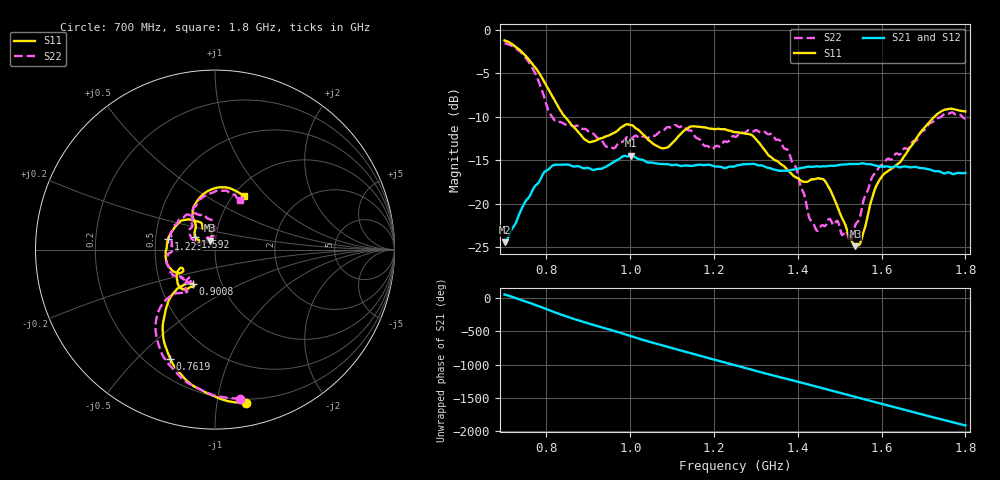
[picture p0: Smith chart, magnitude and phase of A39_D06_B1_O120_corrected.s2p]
! Created with skrf 1.9.0 (http://scikit-rf.org).
# Hz S RI R 50.0
!freq ReS11 ImS11 ReS21 ImS21 ReS12 ImS12 ReS22 ImS22
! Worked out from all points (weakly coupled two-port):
!   1601 points, 700 MHz to 1.8 GHz, reference 50 ohm
!   highest |S21| = -14.47 dB at 1.002 GHz (marker M1); lowest = -24.5 dB at 700 MHz (marker M2)
!   lowest |S11| = -24.9 dB at 1.537 GHz (marker M3), VSWR 1.12, Z = 47.2 + j4.78 ohm
!   |S11| at or under -10 dB: 844 MHz to 1.726 GHz (881.6 MHz wide, 68.6 % of centre)
!   |S22| runs from -24.3 to -1.5 dB; largest |S21 - S12| = 0.0034
!   S11 on the Smith chart (normalised r, x): 700 MHz: 0.17, -1.21; 761.9 MHz: 0.29, -0.63; 900.8 MHz: 0.73, -0.29; 1.223 GHz: 0.58, +0.07; 1.592 GHz: 0.79, +0.12; 1.8 GHz: 1.12, +0.76
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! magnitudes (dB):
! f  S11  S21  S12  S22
! 700 MHz  -1.2  -24.5  -24.2  -1.5
! 761.9 MHz  -3.7  -19.0  -18.9  -4.0
! 816.9 MHz  -7.9  -15.6  -15.7  -10.3
! 883.6 MHz  -12.2  -15.8  -15.7  -11.4
! 900.8 MHz  -12.9  -15.9  -15.9  -11.7
! 957.8 MHz  -11.9  -15.3  -15.3  -13.6
! 1.002 GHz  -10.9  -14.5  -14.6  -12.5
! 1.067 GHz  -13.4  -15.4  -15.4  -11.8
! 1.145 GHz  -11.1  -15.7  -15.7  -11.6
! 1.193 GHz  -11.4  -15.6  -15.6  -13.7
! 1.223 GHz  -11.4  -15.9  -15.9  -12.9
! 1.25 GHz  -11.8  -15.7  -15.6  -12.3
! 1.357 GHz  -15.4  -16.2  -16.2  -12.7
! 1.395 GHz  -17.0  -16.0  -16.0  -15.8
! 1.434 GHz  -17.2  -15.8  -15.7  -22.1
! 1.467 GHz  -17.6  -15.7  -15.7  -22.5
! 1.525 GHz  -23.9  -15.4  -15.4  -24.3
! 1.537 GHz  -24.9  -15.4  -15.4  -22.5
! 1.592 GHz  -17.6  -15.7  -15.7  -15.9
! 1.617 GHz  -16.2  -15.8  -15.7  -14.8
! 1.734 GHz  -9.6  -16.3  -16.3  -10.1
! 1.8 GHz  -9.4  -16.5  -16.5  -10.2
